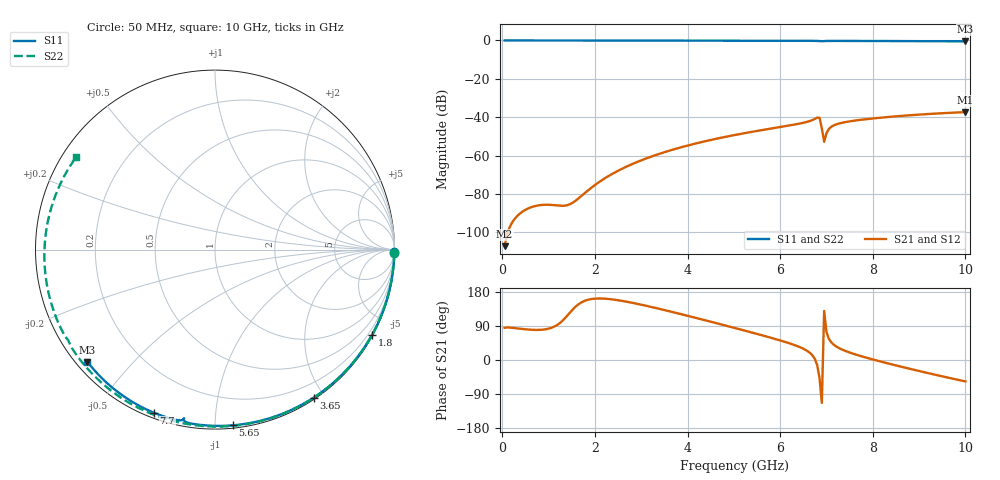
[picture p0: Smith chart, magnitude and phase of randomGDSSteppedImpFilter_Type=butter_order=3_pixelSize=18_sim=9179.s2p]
! freq	dB(S11)	phase(S11)	dB(S12)	phase(S12)
!  dB(S21)	phase(S21)	dB(S22)	phase(S22)
!S-par simulation data
#  GHz  S  DB  R 50
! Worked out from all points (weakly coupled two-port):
!   200 points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, 50 MHz to 10 GHz, reference 50 ohm
!   highest |S21| = -37.36 dB at 10 GHz (marker M1); lowest = -107.3 dB at 50 MHz (marker M2)
!   lowest |S11| = -0.5 dB at 10 GHz (marker M3), VSWR 36.45, Z = 1.57 - j18.9 ohm
!   |S11| at or under -10 dB: nowhere
!   |S22| runs from -0.6 to 0.0 dB; largest |S21 - S12| = 0
!   S11 on the Smith chart (normalised r, x): 50 MHz: open; 1.8 GHz: 0.03, -3.95; 3.65 GHz: 0.02, -1.87; 5.65 GHz: 0.02, -1.11; 7.7 GHz: 0.02, -0.69; 10 GHz: 0.03, -0.38
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0.05  -0.00 -0.8  -107.26 84.8  -107.26 84.8  -0.00 -1.2
0.85  -0.02 -13.5  -85.77 79.8  -85.77 79.8  -0.03 -20.5
1.75  -0.04 -27.7  -80.23 154.6  -80.23 154.6  -0.05 -41.7
1.8  -0.04 -28.4  -79.21 157.0  -79.21 157.0  -0.05 -42.9
2.15  -0.04 -33.8  -72.87 162.2  -72.87 162.2  -0.06 -50.9
2.5  -0.05 -39.2  -67.94 157.8  -67.94 157.8  -0.07 -58.8
3.4  -0.07 -52.6  -59.04 134.8  -59.04 134.8  -0.10 -78.4
3.65  -0.08 -56.3  -57.16 127.4  -57.16 127.4  -0.11 -83.7
4.35  -0.09 -66.3  -52.72 105.8  -52.72 105.8  -0.14 -98.2
5.05  -0.12 -76.1  -49.16 83.6  -49.16 83.6  -0.17 -112.3
5.65  -0.14 -84.2  -46.56 63.9  -46.56 63.9  -0.20 -124.1
6.7  -0.20 -98.4  -41.49 11.8  -41.49 11.8  -0.28 -144.6
6.85  -0.34 -100.6  -40.31 -47.2  -40.31 -47.2  -0.33 -147.6
6.9  -0.40 -100.3  -45.77 -113.1  -45.77 -113.1  -0.35 -148.3
6.95  -0.31 -100.6  -52.85 129.3  -52.85 129.3  -0.32 -149.2
7  -0.26 -101.3  -48.39 74.0  -48.39 74.0  -0.31 -150.2
7.1  -0.24 -102.7  -45.09 47.2  -45.09 47.2  -0.31 -152.2
7.3  -0.24 -105.4  -43.13 29.6  -43.13 29.6  -0.33 -156.2
7.7  -0.26 -110.5  -41.50 11.9  -41.50 11.9  -0.36 -164.1
8.35  -0.31 -118.6  -39.87 -9.7  -39.87 -9.7  -0.43 -177.3
9.2  -0.39 -128.9  -38.35 -34.8  -38.35 -34.8  -0.53 164.6
10  -0.48 -138.7  -37.36 -56.5  -37.36 -56.5  -0.63 146.2
